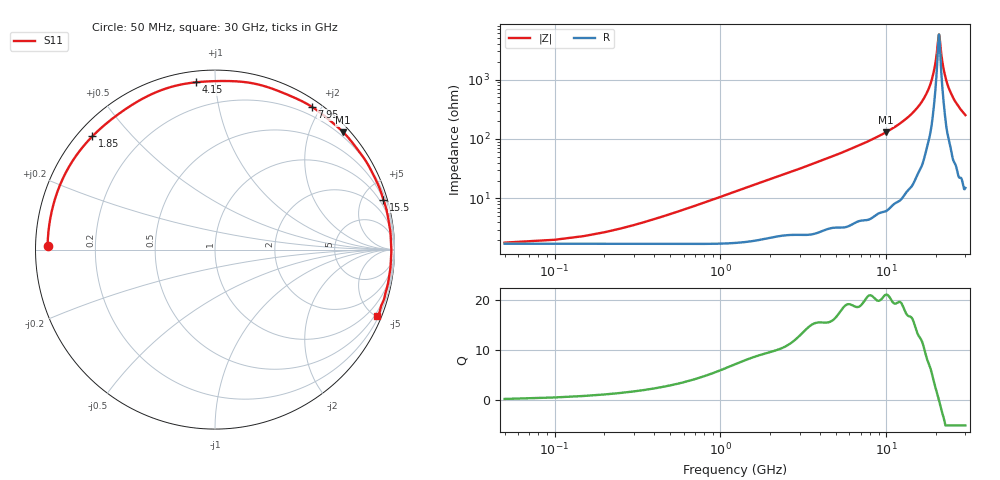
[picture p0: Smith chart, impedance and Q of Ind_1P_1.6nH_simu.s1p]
#  Hz  S  RI  R  50
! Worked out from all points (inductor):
!   600 points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, 50 MHz to 30 GHz, reference 50 ohm
!   read as one part to ground: L = 1.66 nH near 500 MHz
!   highest Q = 21.1 at 9.9 GHz (marker M1), where L = 2.07 nH
!   self-resonance near 20.8 GHz
!   S11 on the Smith chart (normalised r, x): 50 MHz: 0.03, +0.01; 1.85 GHz: 0.04, +0.39; 4.15 GHz: 0.06, +0.89; 7.95 GHz: 0.09, +1.88; 15.5 GHz: 0.52, +6.85; 30 GHz: 0.30, -5.03
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5e7  -0.9328 0.0194
2e8  -0.93 0.0774
5e8  -0.9141 0.1924
9e8  -0.8712 0.3407
1.4e9  -0.7842 0.5081
1.85e9  -0.683 0.6314
2.3e9  -0.5742 0.7277
2.85e9  -0.4392 0.8204
3.35e9  -0.3108 0.8839
3.8e9  -0.1936 0.9189
4.15e9  -0.1075 0.9321
5.15e9  0.1065 0.9381
5.95e9  0.2599 0.9151
6.6e9  0.3638 0.8795
7.55e9  0.4912 0.8234
7.95e9  0.5395 0.7958
8.75e9  0.6203 0.7361
9.9e9  0.7145 0.6539
1.13e10  0.7993 0.5515
1.28e10  0.8664 0.4477
1.505e10  0.9299 0.3049
1.55e10  0.9383 0.2785
1.68e10  0.9595 0.2038
1.88e10  0.9773 0.0975
2.075e10  0.9827 0.00228
2.255e10  0.9791 -0.0792
2.63e10  0.9512 -0.234
3e10  0.9038 -0.3724
